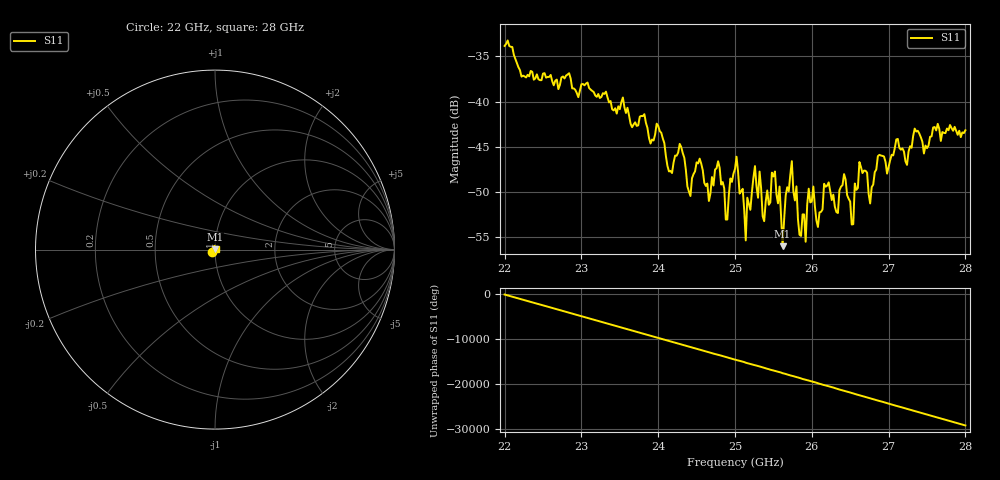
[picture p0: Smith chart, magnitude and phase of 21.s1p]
#  HZ  S  RI  R  50.00
! Rohde & Schwarz ZVA40 4Ports - Version 3.90 - 1145.1110k42 SN: 100403
! Date: 2023-10-04 10:28:06
! Measurement: S12
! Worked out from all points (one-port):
!   301 points, 22 GHz to 28 GHz, reference 50 ohm
!   lowest |S11| = -56.1 dB at 25.62 GHz (marker M1), VSWR 1.00, Z = 50.1 + j0.144 ohm
!   |S11| at or under -10 dB: start of sweep to end of sweep
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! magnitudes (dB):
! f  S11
! 22 GHz  -33.8
! 22.76 GHz  -37.2
! 23.5 GHz  -40.9
! 24.26 GHz  -45.7
! 24.66 GHz  -51.0
! 24.78 GHz  -46.6
! 24.88 GHz  -53.1
! 25 GHz  -47.5
! 25.1 GHz  -49.7
! 25.14 GHz  -55.4
! 25.16 GHz  -50.7
! 25.26 GHz  -47.2
! 25.38 GHz  -53.3
! 25.52 GHz  -47.8
! 25.62 GHz  -56.1
! 25.74 GHz  -46.6
! 25.76 GHz  -50.0
! 25.92 GHz  -55.6
! 25.96 GHz  -49.7
! 26.08 GHz  -53.9
! 26.16 GHz  -49.1
! 26.5 GHz  -51.1
! 26.54 GHz  -53.6
! 26.62 GHz  -46.7
! 26.76 GHz  -51.3
! 26.86 GHz  -46.1
! 27.26 GHz  -45.5
! 28 GHz  -43.2
